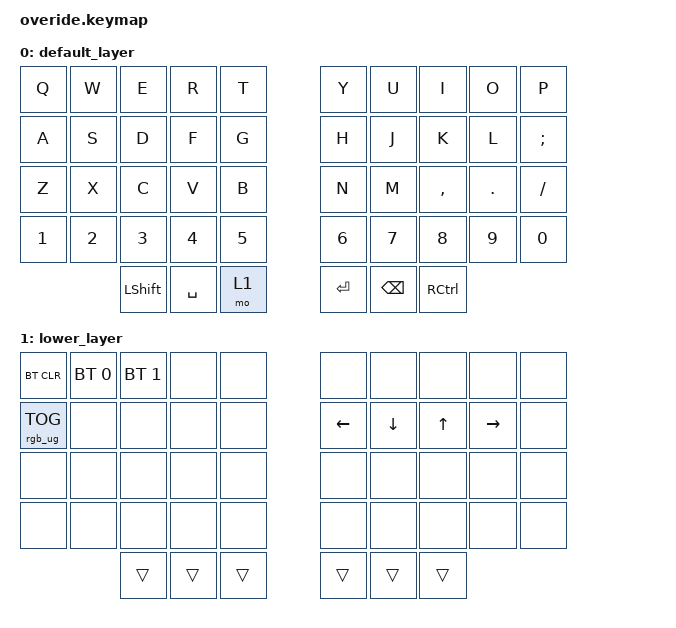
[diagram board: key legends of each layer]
#include <behaviors.dtsi>
#include <dt-bindings/zmk/keys.h>
#include <dt-bindings/zmk/bt.h>
#include <dt-bindings/zmk/rgb.h>

/ {
    keymap {
        compatible = "zmk,keymap";
        default_layer {
            bindings = <
&kp Q    &kp W    &kp E    &kp R    &kp T      &kp Y    &kp U    &kp I    &kp O    &kp P
&kp A    &kp S    &kp D    &kp F    &kp G      &kp H    &kp J    &kp K    &kp L    &kp SEMI
&kp Z    &kp X    &kp C    &kp V    &kp B      &kp N    &kp M    &kp COMMA &kp DOT &kp SLASH
&kp N1   &kp N2   &kp N3   &kp N4   &kp N5     &kp N6   &kp N7   &kp N8   &kp N9   &kp N0
                  &kp LSHIFT &kp SPACE &mo 1   &kp ENTER &kp BSPC &kp RCTRL
            >;
        };

        lower_layer {
            bindings = <
&bt BT_CLR &bt BT_SEL 0 &bt BT_SEL 1 &none &none    &none &none &none &none &none
&rgb_ug RGB_TOG &none    &none        &none &none    &kp LEFT &kp DOWN &kp UP &kp RIGHT &none
&none      &none        &none        &none &none    &none &none &none &none &none
&none      &none        &none        &none &none    &none &none &none &none &none
                        &trans       &trans &trans  &trans &trans &trans
            >;
        };
    };
};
